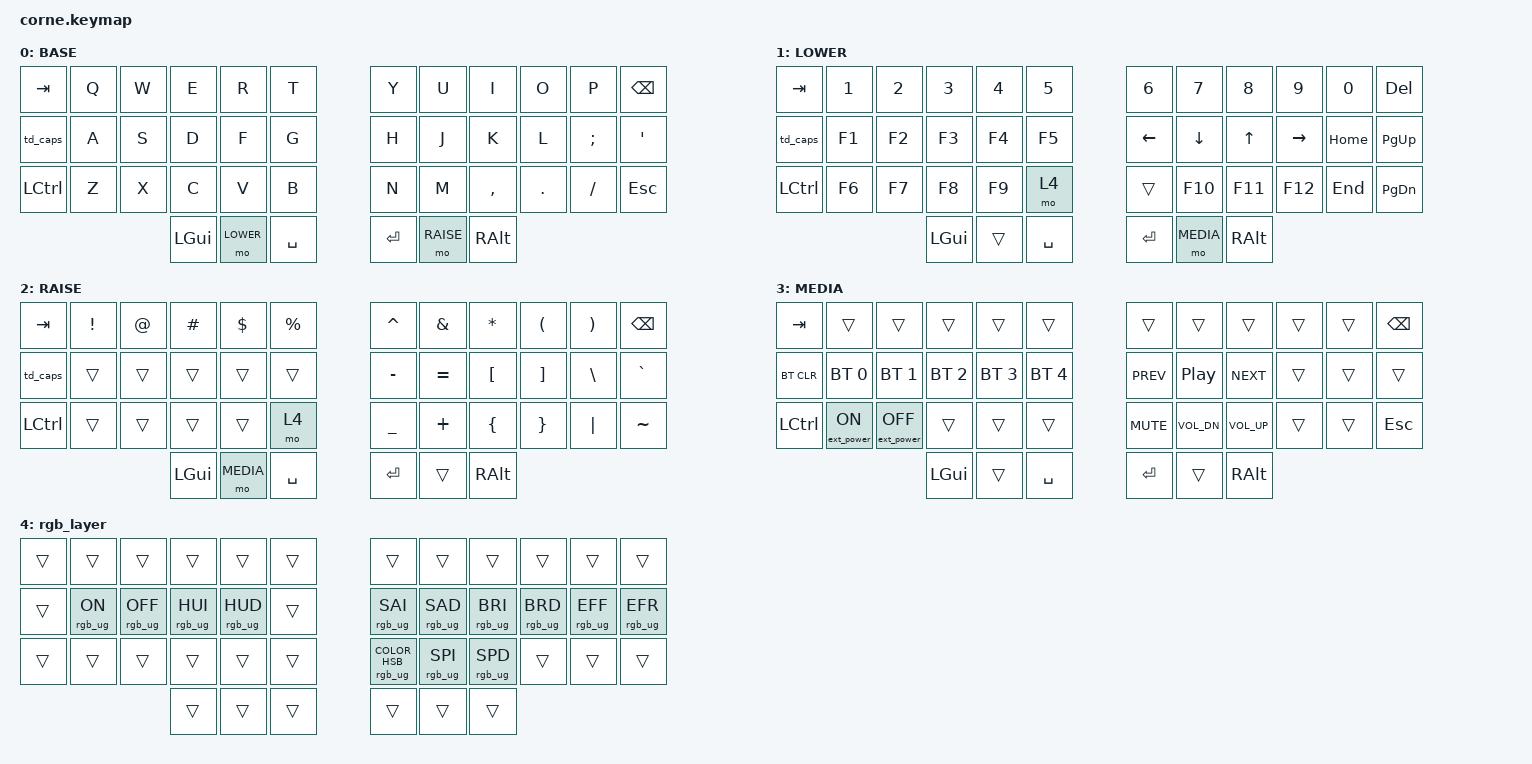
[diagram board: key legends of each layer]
/*
 * Copyright (c) 2020 The ZMK Contributors
 *
 * SPDX-License-Identifier: MIT
 */

#include <behaviors.dtsi>
#include <dt-bindings/zmk/bt.h>
#include <dt-bindings/zmk/ext_power.h>
#include <dt-bindings/zmk/keys.h>
#include <dt-bindings/zmk/rgb.h>

#define BASE 0
#define LOWER 1
#define RAISE 2
#define MEDIA 3

&led_strip { chain-length = <27>; };

// This is ok if only a single sticky key is used.
// Create new behavior if multiple &sk is used.

&sk { quick-release; };

/ {
    chosen { zmk,underglow = &led_strip; };

    behaviors {
        td_caps: td_caps {
            compatible = "zmk,behavior-tap-dance";
            label = "TD_CAPS";
            #binding-cells = <0>;
            tapping-term-ms = <200>;
            bindings = <&sk LSHFT>, <&kp CAPSLOCK>;
        };
    };

    keymap {
        compatible = "zmk,keymap";

        default_layer {
            label = "BASE";

            // -----------------------------------------------------------------------------------------
            // |  TAB |  Q  |  W  |  E  |  R  |  T  |   |  Y  |  U   |  I  |  O  |  P  | BKSP |
            // | LSHFT |  A  |  S  |  D  |  F  |  G  |   |  H  |  J   |  K  |  L  |  ;  |  '   |
            // | CTRL |  Z  |  X  |  C  |  V  |  B  |   |  N  |  M   |  ,  |  .  |  /  | ESC  |
            //                    | GUI | LWR | SPC |   | ENT | RSE  | ALT |

            bindings = <
&kp TAB    &kp Q  &kp W  &kp E     &kp R      &kp T        &kp Y    &kp U      &kp I      &kp O    &kp P     &kp BSPC
&td_caps   &kp A  &kp S  &kp D     &kp F      &kp G        &kp H    &kp J      &kp K      &kp L    &kp SEMI  &kp SQT
&kp LCTRL  &kp Z  &kp X  &kp C     &kp V      &kp B        &kp N    &kp M      &kp COMMA  &kp DOT  &kp FSLH  &kp ESC
                         &kp LGUI  &mo LOWER  &kp SPACE    &kp RET  &mo RAISE  &kp RALT
            >;
        };

        lower_layer {
            label = "LOWER";

            // -----------------------------------------------------------------------------------------
            // |  TAB |  1  |  2  |  3  |  4  |  5  |   |  6  |  7  |  8  |  9  |  0  | BKSP |
            // | LSHFT | BT1 | BT2 | BT3 | BT4 | BT5 |   | LFT | DWN |  UP | RGT |     |      |
            // | CTRL |     |     |     |     |     |   |     |     |     |     |     |      |
            //                    | GUI |     | SPC |   | ENT |     | ALT |

            bindings = <
&kp TAB    &kp N1  &kp N2  &kp N3    &kp N4  &kp N5       &kp N6    &kp N7     &kp N8    &kp N9     &kp N0    &kp DELETE
&td_caps   &kp F1  &kp F2  &kp F3    &kp F4  &kp F5       &kp LEFT  &kp DOWN   &kp UP    &kp RIGHT  &kp HOME  &kp PAGE_UP
&kp LCTRL  &kp F6  &kp F7  &kp F8    &kp F9  &mo 4        &trans    &kp F10    &kp F11   &kp F12    &kp END   &kp PAGE_DOWN
                           &kp LGUI  &trans  &kp SPACE    &kp RET   &mo MEDIA  &kp RALT
            >;
        };

        raise_layer {
            label = "RAISE";

            // -----------------------------------------------------------------------------------------
            // |  TAB |  !  |  @  |  #  |  $  |  %  |   |  ^  |  &  |  *  |  (  |  )  | BKSP |
            // | LSHFT |     |     |     |     |     |   |  -  |  =  |  [  |  ]  |  \  |  `   |
            // | CTRL |     |     |     |     |     |   |  _  |  +  |  {  |  }  | "|" |  ~   |
            //                    | GUI |     | SPC |   | ENT |     | ALT |

            bindings = <
&kp TAB    &kp EXCL  &kp AT  &kp HASH  &kp DLLR   &kp PRCNT    &kp CARET  &kp AMPS   &kp ASTRK  &kp LPAR  &kp RPAR  &kp BSPC
&td_caps   &trans    &trans  &trans    &trans     &trans       &kp MINUS  &kp EQUAL  &kp LBKT   &kp RBKT  &kp BSLH  &kp GRAVE
&kp LCTRL  &trans    &trans  &trans    &trans     &mo 4        &kp UNDER  &kp PLUS   &kp LBRC   &kp RBRC  &kp PIPE  &kp TILDE
                             &kp LGUI  &mo MEDIA  &kp SPACE    &kp RET    &trans     &kp RALT
            >;
        };

        media_layer {
            label = "MEDIA";

            // +------------------------------------------------------------------------------------+
            // |   TAB |     |     |     |     |     |         |     |     |     |     |     | BSPC |
            // |BT CLR | BT1 | BT2 | BT3 | BT4 | BT5 |         | PREV|> || | NEXT|     |     |      |
            // |  CTLR |PW ON|PWOFF|     |     |     |         | MUTE| VOL-| VOL+|     |     |  ESC |
            //                        | GUI |     | SPC |  | ENT |     | ALT |
            // +------------------------------------------------------------------------------------+

            bindings = <
&kp TAB     &trans            &trans             &trans        &trans        &trans          &trans      &trans        &trans        &trans  &trans  &kp BSPC
&bt BT_CLR  &bt BT_SEL 0      &bt BT_SEL 1       &bt BT_SEL 2  &bt BT_SEL 3  &bt BT_SEL 4    &kp C_PREV  &kp C_PP      &kp C_NEXT    &trans  &trans  &trans
&kp LCTRL   &ext_power EP_ON  &ext_power EP_OFF  &trans        &trans        &trans          &kp C_MUTE  &kp C_VOL_DN  &kp C_VOL_UP  &trans  &trans  &kp ESC
                                                 &kp LGUI      &trans        &kp SPACE       &kp RET     &trans        &kp RALT
            >;
        };

        rgb_layer {
            bindings = <
&trans  &trans          &trans           &trans           &trans           &trans    &trans                          &trans           &trans           &trans           &trans           &trans
&trans  &rgb_ug RGB_ON  &rgb_ug RGB_OFF  &rgb_ug RGB_HUI  &rgb_ug RGB_HUD  &trans    &rgb_ug RGB_SAI                 &rgb_ug RGB_SAD  &rgb_ug RGB_BRI  &rgb_ug RGB_BRD  &rgb_ug RGB_EFF  &rgb_ug RGB_EFR
&trans  &trans          &trans           &trans           &trans           &trans    &rgb_ug RGB_COLOR_HSB(62,0,98)  &rgb_ug RGB_SPI  &rgb_ug RGB_SPD  &trans           &trans           &trans
                                         &trans           &trans           &trans    &trans                          &trans           &trans
            >;
        };
    };
};
